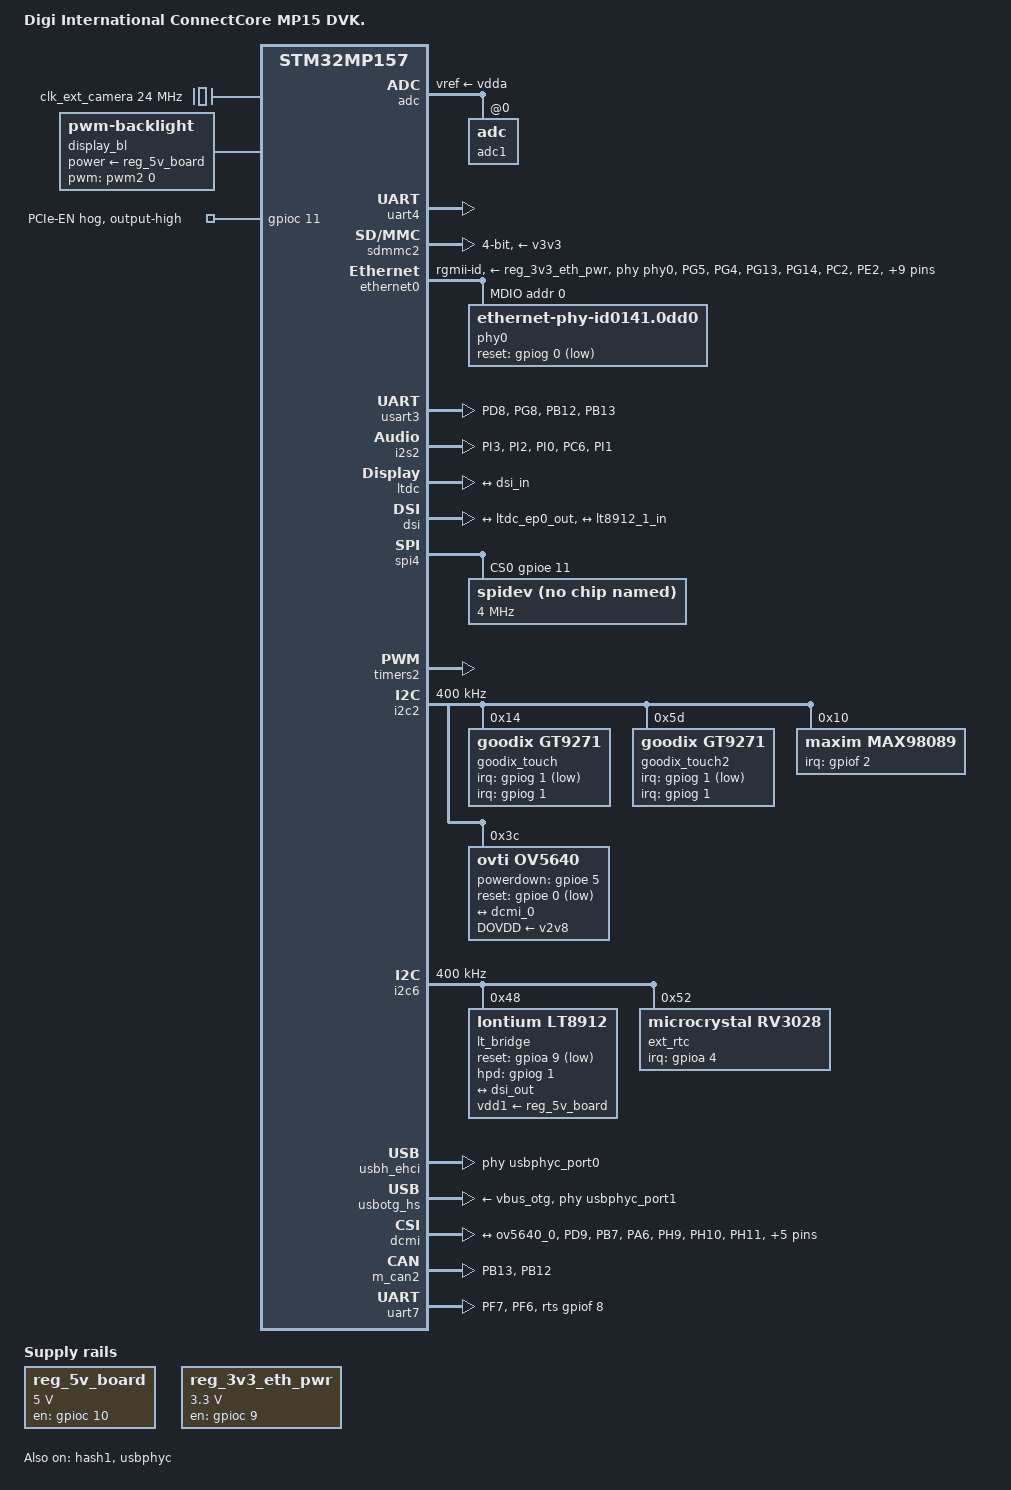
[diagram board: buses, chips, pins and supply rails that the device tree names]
 /*
 * Copyright 2022, Digi International Inc.
 *
 * Permission to use, copy, modify, and/or distribute this software for any
 * purpose with or without fee is hereby granted, provided that the above
 * copyright notice and this permission notice appear in all copies.
 * THE SOFTWARE IS PROVIDED "AS IS" AND THE AUTHOR DISCLAIMS ALL WARRANTIES
 * WITH REGARD TO THIS SOFTWARE INCLUDING ALL IMPLIED WARRANTIES OF
 * MERCHANTABILITY AND FITNESS. IN NO EVENT SHALL THE AUTHOR BE LIABLE FOR
 * ANY SPECIAL, DIRECT, INDIRECT, OR CONSEQUENTIAL DAMAGES OR ANY DAMAGES
 * WHATSOEVER RESULTING FROM LOSS OF USE, DATA OR PROFITS, WHETHER IN AN
 * ACTION OF CONTRACT, NEGLIGENCE OR OTHER TORTIOUS ACTION, ARISING OUT OF
 * OR IN CONNECTION WITH THE USE OR PERFORMANCE OF THIS SOFTWARE.
 */

/dts-v1/;

/* STM32MP157 CPU */
#include "stm32mp157.dtsi"
#include "stm32mp15xa.dtsi"
#include "stm32mp15-pinctrl.dtsi"
#include "stm32mp15xxac-pinctrl.dtsi"
/* Digi ConnectCore CCMP15 */
#include "ccmp15.dtsi"
#include <dt-bindings/pwm/pwm.h>

/ {
	model = "Digi International ConnectCore MP15 DVK.";
	compatible = "digi,ccmp15-dvk", "digi,ccmp15", "st,stm32mp157";
	digi,machine,name = "ccmp157-dvk";

	chosen {
		stdout-path = "serial0:115200n8";
	};

	aliases {
		serial3 = &uart7;
	};

	regulators {
		compatible = "simple-bus";
		#address-cells = <1>;
		#size-cells = <0>;

		reg_5v_board: regulator@1 {
			compatible = "regulator-fixed";
			reg = <1>;
			regulator-name = "5v_board";
			regulator-min-microvolt = <5000000>;
			regulator-max-microvolt = <5000000>;
			gpio = <&gpioc 10 GPIO_ACTIVE_HIGH>;
			enable-active-high;
			status = "okay";
		};

		reg_3v3_eth_pwr: regulator@2 {
			compatible = "regulator-fixed";
			reg = <2>;
			regulator-name = "3v3_eth_pwr";
			regulator-min-microvolt = <3300000>;
			regulator-max-microvolt = <3300000>;
			gpio = <&gpioc 9 GPIO_ACTIVE_HIGH>;
			enable-active-high;
			status = "okay";
		};
	};

	clocks {
		clk_ext_camera: clk-ext-camera {
			#clock-cells = <0>;
			compatible = "fixed-clock";
			clock-frequency = <24000000>;
		};
	};

	display_bl: display-bl {
		compatible = "pwm-backlight";
		/* node TIM2_CH1 period (ns) */
		pwms = <&pwm2 0 500000 PWM_POLARITY_INVERTED>;
		brightness-levels = <0 16 22 30 40 55 75 102 138 188 255>;
		default-brightness-level = <8>;
		power-supply = <&reg_5v_board>;
		status = "okay";
	};

	/* AUO G101EVN01.0 */
	/*panel {
		compatible = "auo,g101evn010", "simple-panel";
		power-supply = <&v3v3>;
		backlight = <&display_bl>;

		port {
			panel_in: endpoint {
				remote-endpoint = <&ltdc_ep0_out>;
			};
		};
	};*/

	/* Fusion 7/10 inch */
	/*panel {
		compatible = "tpk,f07a-0102";
		power-supply = <&v3v3>;
		backlight = <&display_bl>;

		port {
			panel_in: endpoint {
				remote-endpoint = <&ltdc_ep0_out>;
			};
		};
	};*/

	usb_phy_tuning: usb-phy-tuning {
		st,hs-dc-level = <2>;
		st,fs-rftime-tuning;
		st,hs-rftime-reduction;
		st,hs-current-trim = <15>;
		st,hs-impedance-trim = <1>;
		st,squelch-level = <3>;
		st,hs-rx-offset = <2>;
		st,no-lsfs-sc;
	};

	sound_max98089: sound-max98089 {
		compatible = "st,stm-audio-max98088";
		model = "stm32_max98088";
		cpu-dai = <&i2s2>;
		audio-codec = <&max98089>;
		audio-routing =
			"Headphone Jack", "HPL",
			"Headphone Jack", "HPR",
			"Ext Spk", "SPKL",
			"Ext Spk", "SPKR",
			"LineOut", "RECL",
			"LineOut", "RECR",
			"Mic1", "MIC1",
			"Mic2", "MIC2",
			"LineInA", "INA1",
			"LineInA", "INA2",
			"LineInB", "INB1",
			"LineInB", "INB2";
		status = "okay";
	};
};

&adc {
	/* ANA0, ANA1 are dedicated pins and don't need pinctrl */
	vdd-supply = <&vdd>;
	vdda-supply = <&vdda>;
	vref-supply = <&vdda>;
	status = "okay";

	adc1: adc@0 {
		st,adc-channels = <0 1>;
		/* 16.5 ck_cycles sampling time */
		st,min-sample-time-nsecs = <400>;
		status = "okay";
	};
};

/* Console */
&uart4 {
	pinctrl-names = "default", "sleep", "idle";
	pinctrl-0 = <&uart4_pins_a>;
	pinctrl-1 = <&uart4_sleep_pins_a>;
	pinctrl-2 = <&uart4_idle_pins_a>;
	/delete-property/dmas;
	/delete-property/dma-names;
	status = "okay";
};

&cpu1{
	cpu-supply = <&vddcore>;
};

&gpu {
	contiguous-area = <&gpu_reserved>;
};

/* Micro SD */ 
&sdmmc2 {
	pinctrl-names = "default", "opendrain", "sleep";
	pinctrl-0 = <&sdmmc2_b4_pins_a>;
	pinctrl-1 = <&sdmmc2_b4_od_pins_a>;
	pinctrl-2 = <&sdmmc2_b4_sleep_pins_a>;
	broken-cd;
	disable-wp;
	st,neg-edge;
	bus-width = <4>;
	vmmc-supply = <&v3v3>;
	status = "okay";
};

/* 10/100 Ethernet */
/*&ethernet0 {
	status = "okay";
	pinctrl-0 = <&ethernet0_rmii_pins_a>;
	pinctrl-1 = <&ethernet0_rmii_sleep_pins_a>;
	pinctrl-names = "default", "sleep";
	phy-mode = "rmii";
	max-speed = <100>;
	phy-handle = <&phy0>;
	local-mac-address = [00 04 F3 22 23 24];
	st,eth-ref-clk-sel = <1>;
	st,ext-phyclk = <1>;

	mdio0 {
		#address-cells = <1>;
		#size-cells = <0>;
		compatible = "snps,dwmac-mdio";

		phy0: ethernet-phy@0 {
			reg = <0>;
			compatible = "ethernet-phy-ieee802.3-c22";
			reset-gpios = <&gpioh 15 GPIO_ACTIVE_LOW>;
			reset-assert-us = <500>;
			smsc,disable-energy-detect;
			interrupt-parent = <&gpioi>;
			interrupts = <6 IRQ_TYPE_LEVEL_LOW>;
		};
	};
};*/

/* 10/100/1000 Ethernet */
&ethernet0 {
	status = "okay";
	pinctrl-0 = <&ccmp15_ethernet0_rgmii_pins>;
	pinctrl-1 = <&ccmp15_ethernet0_rgmii_sleep_pins>;
	pinctrl-names = "default", "sleep";
	phy-mode = "rgmii-id";
	max-speed = <1000>;
	phy-handle = <&phy0>;
	phy-supply = <&reg_3v3_eth_pwr>;

	mdio0 {
		#address-cells = <1>;
		#size-cells = <0>;
		compatible = "snps,dwmac-mdio";

		phy0: ethernet-phy@0 {
			reg = <0>;
			compatible = "ethernet-phy-id0141.0dd0"; /* PHY ID for Marvell 88E1512 */
			reset-gpios = <&gpiog 0 (GPIO_ACTIVE_LOW | GPIO_PULL_UP)>;
			reset-assert-us = <1000>;
			reset-deassert-us = <2000>;
		};
	};
};

&hash1 {
	status = "okay";
};

/* Connected to XBee some pins are shared with LTDC */
&usart3 {
	pinctrl-names = "default", "sleep", "idle";
	pinctrl-0 = <&ccmp15_usart3_pins>;
	pinctrl-1 = <&ccmp15_usart3_sleep_pins>;
	pinctrl-2 = <&ccmp15_usart3_idle_pins>;
	uart-has-rtscts;
	status = "okay";
};

&i2s2 {
	#clock-cells = <0>;
	clocks = <&rcc SPI2>, <&rcc SPI2_K>, <&rcc PLL3_Q>, <&rcc PLL3_R>;
	clock-names = "pclk", "i2sclk", "x8k", "x11k";
	pinctrl-names = "default", "sleep";
	pinctrl-0 = <&ccmp15_i2s2_pins_a>;
	pinctrl-1 = <&ccmp15_i2s2_sleep_pins_a>;
	status = "okay";
};

/* Display Controller for LVDS */
/* &ltdc {
	pinctrl-names = "default", "sleep";
	pinctrl-0 = <&ccmp15_ltdc_18_bits_pins>;
	pinctrl-1 = <&ccmp15_ltdc_sleep_pins>;
	status = "disabled";

	port {
		ltdc_ep0_out: endpoint {
			remote-endpoint = <&panel_in>;
		};
	};
};*/

/* Display Controller for MIPI-DSI to HDMI */
&ltdc {
	status = "okay";

	port {
		ltdc_ep0_out: endpoint {
			remote-endpoint = <&dsi_in>;
		};
	};
};

&dsi {
	#address-cells = <1>;
	#size-cells = <0>;
	status = "okay";

	ports {
		#address-cells = <1>;
		#size-cells = <0>;

		port@0 {
			reg = <0>;
			dsi_in: endpoint {
				remote-endpoint = <&ltdc_ep0_out>;
			};
		};

		port@1 {
			reg = <1>;
			dsi_out: endpoint {
				remote-endpoint = <&lt8912_1_in>;
			};
		};

	};

};

&spi4 {
	pinctrl-names = "default", "sleep";
	pinctrl-0 = <&spi4_pins_b>;
	pinctrl-1 = <&spi4_sleep_pins_b>;
	cs-gpios = <&gpioe 11 0>;
	status = "okay";

	spidev@0{
		compatible = "rohm,dh2228fv";
		reg = <0>;
		spi-max-frequency = <4000000>;
	};
};

&timers2 {
	/delete-property/dmas;
	/delete-property/dma-names;
	status = "okay";
	pwm2: pwm {
		pinctrl-0 = <&ccmp15_pwm2_pins>;
		pinctrl-1 = <&ccmp15_pwm2_sleep_pins>;
		pinctrl-names = "default", "sleep";
		status = "okay";
	};
	timer@1 {
		status = "okay";
	};
};

&i2c2 {
	clock-frequency = <400000>;
	pinctrl-names = "default", "sleep";
	pinctrl-0 = <&i2c2_pins_a>;
	pinctrl-1 = <&i2c2_sleep_pins_a>;
	i2c-scl-rising-time-ns = <185>;
	i2c-scl-falling-time-ns = <20>;
	status = "okay";
	/* spare dmas for other usage */
	/delete-property/dmas;
	/delete-property/dma-names;

	/* Touch */
	fusion_touch: fusion@14 {
		compatible = "touchrev,fusion-touch";
		reg = <0x14>;
		interrupt-parent = <&gpiog>;
		interrupts = <1 IRQ_TYPE_EDGE_RISING>;
		irq-gpios = <&gpiog 1 GPIO_ACTIVE_LOW>;
		status = "disabled";
	};

	goodix_touch@14 {
		compatible = "goodix,gt9271";
		reg = <0x14>;
		interrupt-parent = <&gpiog>;
		interrupts = <1 IRQ_TYPE_EDGE_RISING>;
		irq-gpios = <&gpiog 1 GPIO_ACTIVE_LOW>;
		status = "okay";
	};

	goodix_touch2@5d {
		compatible = "goodix,gt9271";
		reg = <0x5d>;
		interrupt-parent = <&gpiog>;
		interrupts = <1 IRQ_TYPE_EDGE_RISING>;
		irq-gpios = <&gpiog 1 GPIO_ACTIVE_LOW>;
		status = "okay";
	};

	max98089: codec@10 {
		compatible = "maxim,max98089";
		reg = <0x10>;
		clocks = <&rcc SPI2_K>;
		clock-names = "mclk";
		interrupt-parent = <&gpiof>;
		interrupts = <2 IRQ_TYPE_EDGE_FALLING>;
		#sound-dai-cells = <0>;
		#clock-cells = <0>;
	        status = "okay";
	};

	ov5640: camera@3c {
		compatible = "ovti,ov5640";
		reg = <0x3c>;
		clocks = <&clk_ext_camera>;
		clock-names = "xclk";
		DOVDD-supply = <&v2v8>;
		powerdown-gpios = <&gpioe 5 (GPIO_ACTIVE_HIGH | GPIO_PUSH_PULL)>;
		reset-gpios = <&gpioe 0 (GPIO_ACTIVE_LOW | GPIO_PUSH_PULL)>;
		rotation = <180>;
		status = "okay";

		port {
			ov5640_0: endpoint {
				remote-endpoint = <&dcmi_0>;
				bus-width = <8>;
				data-shift = <2>; /* lines 9:2 are used */
				hsync-active = <0>;
				vsync-active = <0>;
				pclk-sample = <1>;
				pclk-max-frequency = <77000000>;
			};
		};
	};
};

&i2c6 {
	clock-frequency = <400000>;
	pinctrl-names = "default", "sleep";
	pinctrl-0 = <&ccmp15_i2c6_pins_a>;
	pinctrl-1 = <&ccmp15_i2c6_sleep_pins_a>;
	i2c-scl-rising-time-ns = <185>;
	i2c-scl-falling-time-ns = <20>;
	status = "okay";
	/* spare dmas for other usage */
	/delete-property/dmas;
	/delete-property/dma-names;

	lt_bridge: lt8912@48 {
		compatible = "lontium,lt8912";
		reg = <0x48>;
		reset-gpios = <&gpioa 9 GPIO_ACTIVE_LOW>;
		hpd-gpios = <&gpiog 1 GPIO_ACTIVE_HIGH>;
		digi,dsi-lanes = <2>;
		vdd1-supply = <&reg_5v_board>;
		status = "okay";

		port {
			lt8912_1_in: endpoint {
				/* add lanes */
				remote-endpoint = <&dsi_out>;
			};
		};

		display-timings {
			native-mode = <&timing0>;

			/* High Definition */
			timing0: timing0 {
				clock-frequency = <74250000>;
				hactive = <1280>;
				vactive = <720>;
				hfront-porch = <110>;
				hsync-len = <40>;
				hback-porch = <220>;
				vfront-porch = <5>;
				vsync-len = <5>;
				vback-porch = <20>;
				hsync-active = <0>;
				vsync-active = <0>;
				de-active = <0>;
				pixelclk-active = <0>;
			};

			/* Full HD */
			timing1: timing1 {
				clock-frequency = <148500000>;
				hactive = <1920>;
				vactive = <1080>;
				hfront-porch = <88>;
				hsync-len = <44>;
				hback-porch = <148>;
				vfront-porch = <36>;
				vsync-len = <5>;
				vback-porch = <4>;
				hsync-active = <0>;
				vsync-active = <0>;
				de-active = <0>;
				pixelclk-active = <0>;
			};
		};
	};

	ext_rtc: ext_rtc@52 {
		compatible = "microcrystal,rv3028";
		reg = <0x52>;
		interrupt-parent = <&gpioa>;
		interrupts = <4 IRQ_TYPE_EDGE_FALLING>;
	};
};

&usbh_ehci {
	phys = <&usbphyc_port0>;
	phy-names = "usb";
	status = "okay";
};

&usbotg_hs {
	pinctrl-0 = <&usbotg_hs_pins_a>;
	pinctrl-names = "default";
	phy-names = "usb2-phy";
	phys = <&usbphyc_port1 0>;
	status = "okay";
	vbus-supply = <&vbus_otg>;
};

&usbphyc {
	status = "okay";
};

&usbphyc_port0 {
	phy-supply = <&vdd_usb>;
	st,phy-tuning = <&usb_phy_tuning>;
};

&usbphyc_port1 {
	phy-supply = <&vdd_usb>;
	st,phy-tuning = <&usb_phy_tuning>;
};

&dcmi {
	status = "okay";
	pinctrl-names = "default", "sleep";
	pinctrl-0 = <&ccmp15_dcmi_pins_a>;
	pinctrl-1 = <&ccmp15_dcmi_sleep_pins_a>;

	port {
		dcmi_0: endpoint {
			remote-endpoint = <&ov5640_0>;
			bus-type = <5>;
			bus-width = <8>;
			hsync-active = <0>;
			vsync-active = <0>;
			pclk-sample = <1>;
			pclk-max-frequency = <77000000>;
		};
	};
};

/* Pins shared with parallel on DVK (DCMI_D6, DCMI_D7) */
&m_can1 {
	pinctrl-names = "default", "sleep";
	pinctrl-0 = <&ccmp15_can1_pins_a>;
	pinctrl-1 = <&ccmp15_can1_sleep_pins_a>;
	status = "disabled";
};

/* Pins shared with USART3 on DVK (USART3_CTS, USART3_RX) */
&m_can2 {
	pinctrl-names = "default", "sleep";
	pinctrl-0 = <&ccmp15_can2_pins_a>;
	pinctrl-1 = <&ccmp15_can2_sleep_pins_a>;
	status = "okay";
};

/* PCIe connector uses USB */
&gpioc {
	pcie {
		gpio-hog;
		gpios = <11 0>;
		output-high;
		line-name = "PCIe-EN";
	};
};

/* RS485 */
&uart7 {
	linux,rs485-enabled-at-boot-time;
	pinctrl-names = "default";
	pinctrl-0 = <&ccmp15_uart7_pins_a>;
	rts-gpios = <&gpiof 8 GPIO_ACTIVE_HIGH>;
	status = "okay";
};

/* UART mode
&uart7 {
	pinctrl-names = "default";
	pinctrl-0 = <&ccmp15_uart7_pins_a &ccmp15_uart7_rtscts_pins_a>;
	uart-has-rtscts;
	status = "okay";
};*/

&pinctrl {
	ccmp15_usart3_pins: usart3-1 {
		pins1 {
			pinmux = <STM32_PINMUX('D', 8, AF7)>, /* USART3_TX */
				 <STM32_PINMUX('G', 8, AF8)>; /* USART3_RTS */
			bias-disable;
			drive-push-pull;
			slew-rate = <0>;
		};
		pins2 {
			pinmux = <STM32_PINMUX('B', 12, AF8)>, /* USART3_RX */
				 <STM32_PINMUX('B', 13, AF7)>; /* USART3_CTS_NSS */
			bias-disable;
		};
	};

	ccmp15_usart3_idle_pins: usart3-idle-1 {
		pins1 {
			pinmux = <STM32_PINMUX('D', 8, ANALOG)>, /* USART3_TX */
				 <STM32_PINMUX('B', 13, ANALOG)>; /* USART3_CTS_NSS */
		};
		pins2 {
			pinmux = <STM32_PINMUX('G', 8, AF8)>; /* USART3_RTS */
			bias-disable;
			drive-push-pull;
			slew-rate = <0>;
		};
		pins3 {
			pinmux = <STM32_PINMUX('B', 12, AF8)>; /* USART3_RX */
			bias-disable;
		};
	};

	ccmp15_usart3_sleep_pins: usart3-sleep-1 {
		pins {
			pinmux = <STM32_PINMUX('D', 8, ANALOG)>, /* USART3_TX */
				 <STM32_PINMUX('G', 8, ANALOG)>, /* USART3_RTS */
				 <STM32_PINMUX('B', 13, ANALOG)>, /* USART3_CTS_NSS */
				 <STM32_PINMUX('B', 12, ANALOG)>; /* USART3_RX */
		};
	};

	ccmp15_ltdc_18_bits_pins: ltdc-18bits-0 {
		pins1 {
			pinmux = <STM32_PINMUX('G',  7, AF14)>, /* LCD_CLK */
				 <STM32_PINMUX('I', 10, AF14)>, /* LCD_HSYNC */
				 <STM32_PINMUX('I',  9, AF14)>, /* LCD_VSYNC */
				 <STM32_PINMUX('F', 10, AF14)>, /* LCD_DE */
				 <STM32_PINMUX('H',  8, AF14)>, /* LCD_R2 */
				 <STM32_PINMUX('B',  0,  AF9)>, /* LCD_R3 */
				 <STM32_PINMUX('A',  5, AF14)>, /* LCD_R4 */
				 <STM32_PINMUX('C',  0, AF14)>, /* LCD_R5 */
				 <STM32_PINMUX('H', 12, AF14)>, /* LCD_R6 */
				 <STM32_PINMUX('E', 15, AF14)>, /* LCD_R7 */
				 <STM32_PINMUX('H', 13, AF14)>, /* LCD_G2 */
				 <STM32_PINMUX('G', 10,  AF9)>, /* LCD_G3 */
				 <STM32_PINMUX('H', 15, AF14)>, /* LCD_G4 */
				 <STM32_PINMUX('F', 11, AF14)>, /* LCD_G5 */
				 <STM32_PINMUX('I', 11,  AF9)>, /* LCD_G6 */
				 <STM32_PINMUX('B',  5, AF14)>, /* LCD_G7 */
				 <STM32_PINMUX('A',  3,  AF9)>, /* LCD_B2 */
				 <STM32_PINMUX('D', 10, AF14)>, /* LCD_B3 */
				 <STM32_PINMUX('I',  4, AF14)>, /* LCD_B4 */
				 <STM32_PINMUX('I',  5, AF14)>, /* LCD_B5 */
				 <STM32_PINMUX('I',  6, AF14)>, /* LCD_B6 */
				 <STM32_PINMUX('I',  7, AF14)>; /* LCD_B7 */
			bias-disable;
			drive-push-pull;
			slew-rate = <1>;
		};
		pins2 {
			pinmux = <STM32_PINMUX('H',  2, GPIO)>, /* LCD_R0 */
				 <STM32_PINMUX('H',  3, GPIO)>, /* LCD_R1 */
				 <STM32_PINMUX('B',  1, GPIO)>, /* LCD_G0 */
				 <STM32_PINMUX('E',  6, GPIO)>, /* LCD_G1 */
				 <STM32_PINMUX('E',  4, GPIO)>, /* LCD_B0 */
				 <STM32_PINMUX('G', 12, GPIO)>; /* LCD_B1 */
			bias-pull-down;
			drive-push-pull;
			slew-rate = <0>;
		};
	};

	ccmp15_ltdc_24_bits_pins: ltdc-24bits-0 {
		pins {
			pinmux = <STM32_PINMUX('G',  7, AF14)>, /* LCD_CLK */
				 <STM32_PINMUX('I', 10, AF14)>, /* LCD_HSYNC */
				 <STM32_PINMUX('I',  9, AF14)>, /* LCD_VSYNC */
				 <STM32_PINMUX('F', 10, AF14)>, /* LCD_DE */
				 <STM32_PINMUX('H',  2, AF14)>, /* LCD_R0 */
				 <STM32_PINMUX('H',  3, AF14)>, /* LCD_R1 */
				 <STM32_PINMUX('H',  8, AF14)>, /* LCD_R2 */
				 <STM32_PINMUX('B',  0,  AF9)>, /* LCD_R3 */
				 <STM32_PINMUX('A',  5, AF14)>, /* LCD_R4 */
				 <STM32_PINMUX('C',  0, AF14)>, /* LCD_R5 */
				 <STM32_PINMUX('H', 12, AF14)>, /* LCD_R6 */
				 <STM32_PINMUX('E', 15, AF14)>, /* LCD_R7 */
				 <STM32_PINMUX('B',  1, AF14)>, /* LCD_G0 */
				 <STM32_PINMUX('E',  6, AF14)>, /* LCD_G1 */
				 <STM32_PINMUX('H', 13, AF14)>, /* LCD_G2 */
				 <STM32_PINMUX('G', 10,  AF9)>, /* LCD_G3 */
				 <STM32_PINMUX('H', 15, AF14)>, /* LCD_G4 */
				 <STM32_PINMUX('F', 11, AF14)>, /* LCD_G5 */
				 <STM32_PINMUX('I', 11,  AF9)>, /* LCD_G6 */
				 <STM32_PINMUX('B',  5, AF14)>, /* LCD_G7 */
				 <STM32_PINMUX('E',  4, AF14)>, /* LCD_B0 */
				 <STM32_PINMUX('G', 12, AF14)>, /* LCD_B1 */
				 <STM32_PINMUX('A',  3,  AF9)>, /* LCD_B2 */
				 <STM32_PINMUX('D', 10, AF14)>, /* LCD_B3 */
				 <STM32_PINMUX('I',  4, AF14)>, /* LCD_B4 */
				 <STM32_PINMUX('I',  5, AF14)>, /* LCD_B5 */
				 <STM32_PINMUX('I',  6, AF14)>, /* LCD_B6 */
				 <STM32_PINMUX('I',  7, AF14)>; /* LCD_B7 */
			bias-disable;
			drive-push-pull;
			slew-rate = <1>;
		};
	};

	ccmp15_ltdc_sleep_pins: ltdc-sleep-0 {
		pins {
			pinmux = <STM32_PINMUX('G',  7, ANALOG)>, /* LCD_CLK */
				 <STM32_PINMUX('I', 10, ANALOG)>, /* LCD_HSYNC */
				 <STM32_PINMUX('I',  9, ANALOG)>, /* LCD_VSYNC */
				 <STM32_PINMUX('F', 10, ANALOG)>, /* LCD_DE */
				 <STM32_PINMUX('H',  2, ANALOG)>, /* LCD_R0 */
				 <STM32_PINMUX('H',  3, ANALOG)>, /* LCD_R1 */
				 <STM32_PINMUX('H',  8, ANALOG)>, /* LCD_R2 */
				 <STM32_PINMUX('B',  0, ANALOG)>, /* LCD_R3 */
				 <STM32_PINMUX('A',  5, ANALOG)>, /* LCD_R4 */
				 <STM32_PINMUX('C',  0, ANALOG)>, /* LCD_R5 */
				 <STM32_PINMUX('H', 12, ANALOG)>, /* LCD_R6 */
				 <STM32_PINMUX('E', 15, ANALOG)>, /* LCD_R7 */
				 <STM32_PINMUX('B',  1, ANALOG)>, /* LCD_G0 */
				 <STM32_PINMUX('E',  6, ANALOG)>, /* LCD_G1 */
				 <STM32_PINMUX('H', 13, ANALOG)>, /* LCD_G2 */
				 <STM32_PINMUX('G', 10, ANALOG)>, /* LCD_G3 */
				 <STM32_PINMUX('H', 15, ANALOG)>, /* LCD_G4 */
				 <STM32_PINMUX('F', 11, ANALOG)>, /* LCD_G5 */
				 <STM32_PINMUX('I', 11, ANALOG)>, /* LCD_G6 */
				 <STM32_PINMUX('B',  5, ANALOG)>, /* LCD_G7 */
				 <STM32_PINMUX('E',  4, ANALOG)>, /* LCD_B0 */
				 <STM32_PINMUX('G', 12, ANALOG)>, /* LCD_B1 */
				 <STM32_PINMUX('A',  3, ANALOG)>, /* LCD_B2 */
				 <STM32_PINMUX('D', 10, ANALOG)>, /* LCD_B3 */
				 <STM32_PINMUX('I',  4, ANALOG)>, /* LCD_B4 */
				 <STM32_PINMUX('I',  5, ANALOG)>, /* LCD_B5 */
				 <STM32_PINMUX('I',  6, ANALOG)>, /* LCD_B6 */
				 <STM32_PINMUX('I',  7, ANALOG)>; /* LCD_B7 */
		};
	};

	ccmp15_i2s2_pins_a: i2s2-0 {
		pins {
			pinmux = <STM32_PINMUX('I', 3, AF5)>, /* I2S2_SDO */
				 <STM32_PINMUX('I', 2, AF5)>, /* I2S2_SDI */
				 <STM32_PINMUX('I', 0, AF5)>, /* I2S2_WS */
				 <STM32_PINMUX('C', 6, AF5)>, /* I2S2_MCK */
				 <STM32_PINMUX('I', 1, AF5)>; /* I2S2_CK */
			slew-rate = <1>;
			drive-push-pull;
			bias-disable;
		};
	};

	ccmp15_i2s2_sleep_pins_a: i2s2-sleep-0 {
		pins {
			pinmux = <STM32_PINMUX('I', 3, ANALOG)>, /* I2S2_SDO */
				 <STM32_PINMUX('I', 2, ANALOG)>, /* I2S2_SDI */
				 <STM32_PINMUX('I', 0, ANALOG)>, /* I2S2_WS */
				 <STM32_PINMUX('C', 6, ANALOG)>, /* I2S2_MCK */
				 <STM32_PINMUX('I', 1, ANALOG)>; /* I2S2_CK */
		};
	};

	ccmp15_dcmi_pins_a: dcmi-0 {
		pins {
			pinmux = <STM32_PINMUX('D', 9,  AF13)>,/* DCMI_HSYNC */
				 <STM32_PINMUX('B', 7,  AF13)>,/* DCMI_VSYNC */
				 <STM32_PINMUX('A', 6,  AF13)>,/* DCMI_PIXCLK */
				 <STM32_PINMUX('H', 9,  AF13)>,/* DCMI_D0 */
				 <STM32_PINMUX('H', 10, AF13)>,/* DCMI_D1 */
				 <STM32_PINMUX('H', 11, AF13)>,/* DCMI_D2 */
				 <STM32_PINMUX('E',  1, AF13)>,/* DCMI_D3 */
				 <STM32_PINMUX('H', 14, AF13)>,/* DCMI_D4 */
				 <STM32_PINMUX('D', 3,  AF13)>,/* DCMI_D5 */
				 <STM32_PINMUX('B', 8,  AF13)>,/* DCMI_D6 */
				 <STM32_PINMUX('B', 9,  AF13)>;/* DCMI_D7 */
			bias-disable;
		};
	};

	ccmp15_dcmi_sleep_pins_a: dcmi-sleep-0 {
		pins {
			pinmux = <STM32_PINMUX('H', 8,  ANALOG)>,/* DCMI_HSYNC */
				 <STM32_PINMUX('B', 7,  ANALOG)>,/* DCMI_VSYNC */
				 <STM32_PINMUX('A', 6,  ANALOG)>,/* DCMI_PIXCLK */
				 <STM32_PINMUX('H', 9,  ANALOG)>,/* DCMI_D0 */
				 <STM32_PINMUX('H', 10, ANALOG)>,/* DCMI_D1 */
				 <STM32_PINMUX('H', 11, ANALOG)>,/* DCMI_D2 */
				 <STM32_PINMUX('E',  1, ANALOG)>,/* DCMI_D3 */
				 <STM32_PINMUX('H', 14, ANALOG)>,/* DCMI_D4 */
				 <STM32_PINMUX('D', 3,  ANALOG)>,/* DCMI_D5 */
				 <STM32_PINMUX('B', 8,  ANALOG)>,/* DCMI_D6 */
				 <STM32_PINMUX('B', 9,  ANALOG)>;/* DCMI_D7 */
		};
	};

	ccmp15_ethernet0_rgmii_pins: rgmii-1 {
		pins1 {
			pinmux = <STM32_PINMUX('G', 5, AF11)>, /* ETH_RGMII_CLK125 */
				 <STM32_PINMUX('G', 4, AF11)>, /* ETH_RGMII_GTX_CLK */
				 <STM32_PINMUX('G', 13, AF11)>, /* ETH_RGMII_TXD0 */
				 <STM32_PINMUX('G', 14, AF11)>, /* ETH_RGMII_TXD1 */
				 <STM32_PINMUX('C', 2, AF11)>, /* ETH_RGMII_TXD2 */
				 <STM32_PINMUX('E', 2, AF11)>, /* ETH_RGMII_TXD3 */
				 <STM32_PINMUX('B', 11, AF11)>, /* ETH_RGMII_TX_CTL */
				 <STM32_PINMUX('C', 1, AF11)>; /* ETH_MDC */
			bias-disable;
			drive-push-pull;
			slew-rate = <2>;
		};
		pins2 {
			pinmux = <STM32_PINMUX('A', 2, AF11)>; /* ETH_MDIO */
			bias-disable;
			drive-push-pull;
			slew-rate = <0>;
		};
		pins3 {
			pinmux = <STM32_PINMUX('C', 4, AF11)>, /* ETH_RGMII_RXD0 */
				 <STM32_PINMUX('C', 5, AF11)>, /* ETH_RGMII_RXD1 */
				 <STM32_PINMUX('H', 6, AF11)>, /* ETH_RGMII_RXD2 */
				 <STM32_PINMUX('H', 7, AF11)>, /* ETH_RGMII_RXD3 */
				 <STM32_PINMUX('A', 1, AF11)>, /* ETH_RGMII_RX_CLK */
				 <STM32_PINMUX('A', 7, AF11)>; /* ETH_RGMII_RX_CTL */
			bias-disable;
		};
	};

	ccmp15_ethernet0_rgmii_sleep_pins: rgmii-sleep-1 {
		pins1 {
			pinmux = <STM32_PINMUX('G', 5, ANALOG)>, /* ETH_RGMII_CLK125 */
				 <STM32_PINMUX('G', 4, ANALOG)>, /* ETH_RGMII_GTX_CLK */
				 <STM32_PINMUX('G', 13, ANALOG)>, /* ETH_RGMII_TXD0 */
				 <STM32_PINMUX('G', 14, ANALOG)>, /* ETH_RGMII_TXD1 */
				 <STM32_PINMUX('C', 2, ANALOG)>, /* ETH_RGMII_TXD2 */
				 <STM32_PINMUX('E', 2, ANALOG)>, /* ETH_RGMII_TXD3 */
				 <STM32_PINMUX('B', 11, ANALOG)>, /* ETH_RGMII_TX_CTL */
				 <STM32_PINMUX('C', 1, ANALOG)>, /* ETH_MDC */
				 <STM32_PINMUX('A', 2, ANALOG)>, /* ETH_MDIO */
				 <STM32_PINMUX('C', 4, ANALOG)>, /* ETH_RGMII_RXD0 */
				 <STM32_PINMUX('C', 5, ANALOG)>, /* ETH_RGMII_RXD1 */
				 <STM32_PINMUX('H', 6, ANALOG)>, /* ETH_RGMII_RXD2 */
				 <STM32_PINMUX('H', 7, ANALOG)>, /* ETH_RGMII_RXD3 */
				 <STM32_PINMUX('A', 1, ANALOG)>, /* ETH_RGMII_RX_CLK */
				 <STM32_PINMUX('A', 7, ANALOG)>; /* ETH_RGMII_RX_CTL */
		 };
	};

	ccmp15_pwm2_pins: pwm2-0 {
		pins {
			pinmux = <STM32_PINMUX('A', 15, AF1)>; /* TIM2_CH1 */
			bias-disable;
			drive-push-pull;
			slew-rate = <0>;
		};
	};

	ccmp15_pwm2_sleep_pins: pwm2-sleep-0 {
		pins {
			pinmux = <STM32_PINMUX('A', 15, ANALOG)>; /* TIM2_CH1 */
		};
	};

	ccmp15_can1_pins_a: can1-0 {
		pins1 {
			pinmux = <STM32_PINMUX('B', 9, AF9)>; /* CAN1_TX */
			slew-rate = <1>;
			drive-push-pull;
			bias-disable;
		};
		pins2 {
			pinmux = <STM32_PINMUX('B', 8, AF9)>; /* CAN1_RX */
			bias-disable;
		};
	};

	ccmp15_can1_sleep_pins_a: can1-sleep-0 {
		pins {
			pinmux = <STM32_PINMUX('B', 9, ANALOG)>, /* CAN1_TX */
				 <STM32_PINMUX('B', 8, ANALOG)>; /* CAN1_RX */
		};
	};

	ccmp15_can2_pins_a: can2-0 {
		pins1 {
			pinmux = <STM32_PINMUX('B', 13, AF9)>; /* CAN2_TX */
			slew-rate = <1>;
			drive-push-pull;
			bias-disable;
		};
		pins2 {
			pinmux = <STM32_PINMUX('B', 12, AF9)>; /* CAN2_RX */
			bias-disable;
		};
	};

	ccmp15_can2_sleep_pins_a: can2-sleep-0 {
		pins {
			pinmux = <STM32_PINMUX('B', 13, ANALOG)>, /* CAN2_TX */
				 <STM32_PINMUX('B', 12, ANALOG)>; /* CAN2_RX */
		};
	};

	ccmp15_uart7_pins_a: uart7-0 {
		pins1 {
			pinmux = <STM32_PINMUX('F', 7, AF7)>; /* UART7_TX */
			bias-disable;
			drive-push-pull;
			slew-rate = <0>;
		};
		pins2 {
			pinmux = <STM32_PINMUX('F', 6, AF7)>; /* UART7_RX */
			bias-disable;
		};
	};

	ccmp15_uart7_rtscts_pins_a: uart7rtscts-0 {
		pins {
			pinmux = <STM32_PINMUX('F', 8, AF7)>, /* UART7_RTS */
				 <STM32_PINMUX('F', 9, AF7)>; /* UART7_CTS */
			bias-disable;
		};
	};
};

&pinctrl_z {
	ccmp15_i2c6_pins_a: ccmp15_i2c6-0 {
		pins {
			pinmux = <STM32_PINMUX('Z', 0, AF2)>, /* I2C6_SCL */
				 <STM32_PINMUX('Z', 3, AF2)>; /* I2C6_SDA */
			bias-disable;
			drive-open-drain;
			slew-rate = <0>;
		};
	};

	ccmp15_i2c6_sleep_pins_a: ccmp15_i2c6-sleep-0 {
		pins {
			pinmux = <STM32_PINMUX('Z', 0, ANALOG)>, /* I2C6_SCL */
				 <STM32_PINMUX('Z', 3, ANALOG)>; /* I2C6_SDA */
		};
	};
};
